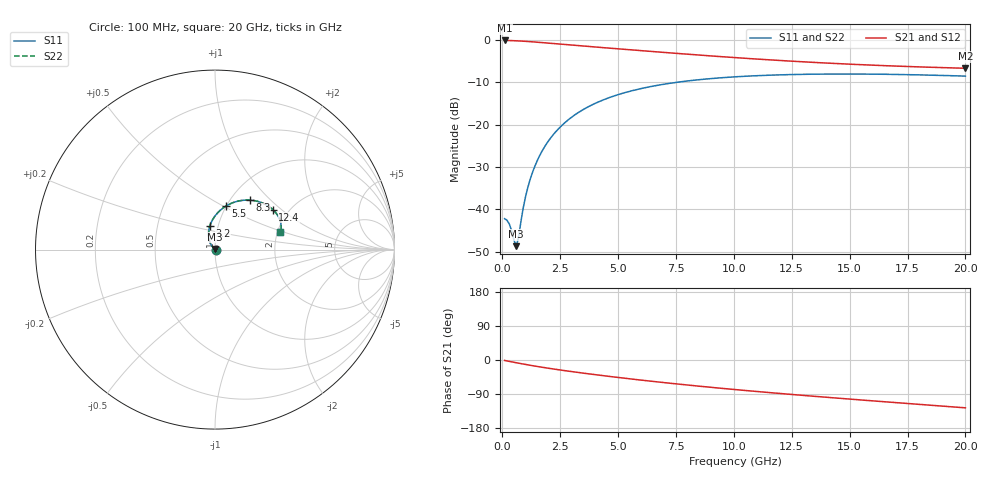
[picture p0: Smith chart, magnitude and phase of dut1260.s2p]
! Touchstone file exported from HFSS 2024.1.0
!  File:  C:/UserFiles/LocalFiles/RDL_TSV_Batchsim/temp_RDL_TSV_1260_1780271863.aedt
!  Generated:  08:12:57 AM Jun  1, 2026
!  Design:  RDL_TSV
!  Project:  temp_RDL_TSV_1260_1780271863
!  Setup:  Setup1
!  Solution:  Sweep
! Variables:
!  dtsv = 11.7um
!  hbump = 3um
!  htsv = 52.48um
!  ldown = 288.32um
!  lrdl = 231.59um
!  p = 40
!  p1 = 55.21um
!  rhole = 10um
!  subl = 1791.32um
!  t = 450um
!  tdown = 4.94um
!  trdl = 4.97um
!  viad = 10um
!  wdown = 14.69um
!  wrdl = 22.4um
!  xbump = 18um
# GHz S MA R 50.000000
! Terminal data exported
! Port[1] = TM1_1_T1
! Port[2] = TM1_4_T1
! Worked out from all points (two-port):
!   200 points, 100 MHz to 20 GHz, reference 50 ohm
!   highest |S21| = -0.07 dB at 100 MHz (marker M1); lowest = -6.6 dB at 20 GHz (marker M2)
!   |S21| within 3 dB of the highest: start of sweep to 7.386 GHz
!   lowest |S11| = -48.7 dB at 600 MHz (marker M3), VSWR 1.01, Z = 50.2 + j0.328 ohm
!   |S11| at or under -10 dB: start of sweep to 7.499 GHz
!   |S22| runs from -48.7 to -8.0 dB; largest |S21 - S12| = 5e-13
!   S11 on the Smith chart (normalised r, x): 100 MHz: 1.02, +0.00; 3.2 GHz: 0.91, +0.24; 5.5 GHz: 0.99, +0.51; 8.3 GHz: 1.22, +0.76; 12.4 GHz: 1.66, +0.87; 20 GHz: 2.07, +0.47
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0.1  0.007738 3.9  0.9918 -1.2  0.9918 -1.2  0.007737 3.9
! Gamma 0 0 0 0
! Port Impedance 50 0 50 0
0.3  0.006719 10.8  0.9896 -3.7  0.9896 -3.7  0.006717 10.8
0.6  0.00366 63.3  0.9827 -7.2  0.9827 -7.2  0.003657 63.4
0.7  0.004597 98.8  0.9796 -8.4  0.9796 -8.4  0.004602 98.9
0.9  0.01023 126.3  0.9726 -10.6  0.9726 -10.6  0.01025 126.3
1  0.01394 129.8  0.9686 -11.7  0.9686 -11.7  0.01396 129.8
1.2  0.02243 131.2  0.9602 -13.9  0.9602 -13.9  0.02246 131.2
1.5  0.03708 128.4  0.9465 -17.0  0.9465 -17.0  0.03713 128.5
1.8  0.05328 124.0  0.932 -20.0  0.932 -20.0  0.05335 124.0
2.2  0.0762 117.5  0.9125 -23.7  0.9125 -23.7  0.07631 117.5
2.7  0.1056 109.6  0.8884 -28.1  0.8884 -28.1  0.1057 109.6
3.2  0.1345 102.3  0.8653 -32.3  0.8653 -32.3  0.1347 102.3
3.5  0.1514 98.3  0.8519 -34.7  0.8519 -34.7  0.1516 98.3
4.4  0.1985 87.4  0.8137 -41.7  0.8137 -41.7  0.1988 87.4
5.5  0.2482 76.3  0.7701 -49.6  0.7701 -49.6  0.2485 76.3
6.8  0.2955 65.4  0.7223 -58.5  0.7223 -58.5  0.296 65.4
8.3  0.3363 55.0  0.6724 -67.9  0.6724 -67.9  0.3369 55.1
10.1  0.3691 44.9  0.6203 -78.3  0.6203 -78.3  0.3697 45.0
12.4  0.3914 34.7  0.5661 -90.5  0.5661 -90.5  0.3921 34.8
13.4  0.3958 31.0  0.5466 -95.4  0.5466 -95.4  0.3965 31.1
16.7  0.3943 21.3  0.4969 -111.1  0.4969 -111.1  0.3951 21.4
20  0.3755 15.0  0.4652 -126.2  0.4652 -126.2  0.3763 15.0
